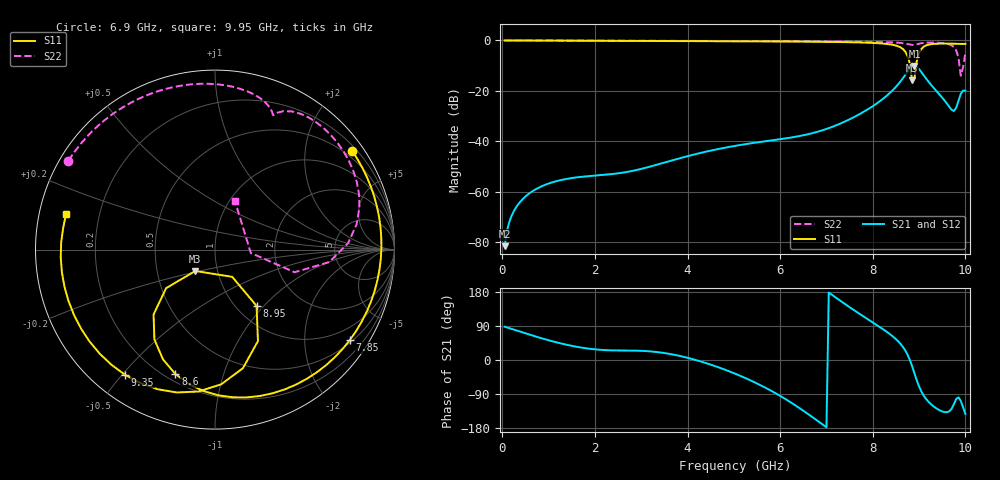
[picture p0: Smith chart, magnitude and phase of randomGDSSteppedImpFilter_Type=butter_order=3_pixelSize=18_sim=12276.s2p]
! freq	dB(S11)	phase(S11)	dB(S12)	phase(S12)
!  dB(S21)	phase(S21)	dB(S22)	phase(S22)
!S-par simulation data
#  GHz  S  DB  R 50
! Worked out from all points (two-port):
!   200 points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, 50 MHz to 10 GHz, reference 50 ohm
!   highest |S21| = -10.06 dB at 8.9 GHz (marker M1); lowest = -81.5 dB at 50 MHz (marker M2)
!   |S21| within 3 dB of the highest: 8.726 GHz to 9.07 GHz (343.3 MHz wide, 3.86 % of centre)
!   lowest |S11| = -15.8 dB at 8.85 GHz (marker M3), VSWR 1.39, Z = 39.1 - j9.56 ohm
!   |S11| at or under -10 dB: 8.806 GHz to 8.936 GHz (130.4 MHz wide, 1.47 % of centre)
!   |S22| runs from -14.0 to 0.0 dB; largest |S21 - S12| = 0
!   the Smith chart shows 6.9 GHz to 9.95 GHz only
!   S11 on the Smith chart (normalised r, x): 6.9 GHz: 0.32, +3.09; 7.85 GHz: 0.58, -3.20; 8.6 GHz: 0.24, -0.70; 8.95 GHz: 1.23, -0.91; 9.35 GHz: 0.10, -0.51; 9.95 GHz: 0.08, +0.12
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0.05  -0.00 -2.4  -81.55 87.9  -81.55 87.9  -0.00 -1.7
0.5  -0.03 -23.8  -61.85 70.2  -61.85 70.2  -0.02 -16.2
1.75  -0.10 -80.7  -53.98 31.9  -53.98 31.9  -0.07 -55.7
3.4  -0.18 -149.1  -48.94 20.1  -48.94 20.1  -0.13 -104.7
5.05  -0.29 140.1  -41.71 -37.2  -41.71 -37.2  -0.23 -152.1
5.95  -0.38 94.0  -39.27 -91.1  -39.27 -91.1  -0.30 -179.4
6.7  -0.49 48.8  -36.74 -151.0  -36.74 -151.0  -0.38 155.8
6.9  -0.53 35.6  -35.69 -168.6  -35.69 -168.6  -0.40 148.7
7.85  -0.87 -33.8  -27.78 111.0  -27.78 111.0  -0.55 111.5
8.35  -1.49 -77.8  -21.14 70.1  -21.14 70.1  -0.72 88.8
8.6  -2.76 -107.6  -16.22 42.4  -16.22 42.4  -0.99 76.2
8.75  -6.05 -133.4  -12.45 14.2  -12.45 14.2  -1.41 69.1
8.85  -15.81 -132.7  -10.37 -16.5  -10.37 -16.5  -1.76 66.7
8.9  -14.91 -57.7  -10.06 -35.3  -10.06 -35.3  -1.74 66.4
8.95  -8.18 -53.5  -10.45 -53.8  -10.45 -53.8  -1.54 65.6
9.1  -2.48 -87.4  -13.83 -94.0  -13.83 -94.0  -0.97 57.7
9.35  -1.32 -125.8  -19.55 -125.7  -19.55 -125.7  -0.87 41.1
9.7  -1.27 -166.2  -27.47 -129.2  -27.47 -129.2  -1.92 10.1
9.85  -1.33 177.4  -23.96 -98.5  -23.96 -98.5  -6.72 -15.9
9.9  -1.37 172.0  -21.22 -107.6  -21.22 -107.6  -13.97 -5.4
9.95  -1.38 166.7  -19.85 -125.2  -19.85 -125.2  -10.70 67.5
10  -1.37 161.3  -19.95 -142.3  -19.95 -142.3  -5.06 62.9
